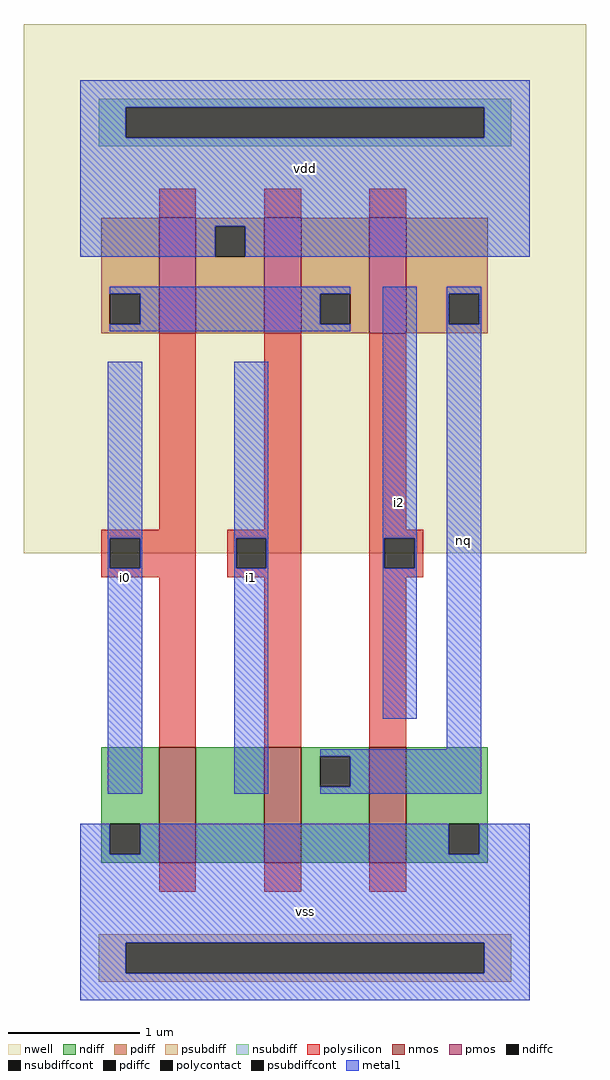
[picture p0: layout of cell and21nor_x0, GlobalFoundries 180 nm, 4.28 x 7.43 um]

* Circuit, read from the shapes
.subckt and21nor_x0 vss vdd i0 nq i1 i2
XM1 n1 i0 vss vss nfet_03v3 w=0.88u l=0.28u
XM2 nq i1 n1 vss nfet_03v3 w=0.88u l=0.28u
XM3 vss i2 nq vss nfet_03v3 w=0.88u l=0.28u
XM4 vdd i0 n2 vdd pfet_03v3 w=0.88u l=0.28u
XM5 n2 i1 vdd vdd pfet_03v3 w=0.88u l=0.28u
XM6 nq i2 n2 vdd pfet_03v3 w=0.88u l=0.28u
.ends

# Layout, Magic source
magic
tech gf180mcuD
magscale 1 10
<< nwell >>
rect -86 680 770 1486
<< nmos >>
rect 120 209 176 385
rect 280 209 336 385
rect 440 209 496 385
<< pmos >>
rect 120 1015 176 1191
rect 280 1015 336 1191
rect 440 1015 496 1191
<< ndiff >>
rect 32 268 120 385
rect 32 222 45 268
rect 91 222 120 268
rect 32 209 120 222
rect 176 209 280 385
rect 336 371 440 385
rect 336 325 365 371
rect 411 325 440 371
rect 336 209 440 325
rect 496 268 620 385
rect 496 222 561 268
rect 607 222 620 268
rect 496 209 620 222
<< pdiff >>
rect 32 1075 120 1191
rect 32 1029 45 1075
rect 91 1029 120 1075
rect 32 1015 120 1029
rect 176 1178 280 1191
rect 176 1132 205 1178
rect 251 1132 280 1178
rect 176 1015 280 1132
rect 336 1075 440 1191
rect 336 1029 365 1075
rect 411 1029 440 1075
rect 336 1015 440 1029
rect 496 1075 620 1191
rect 496 1029 561 1075
rect 607 1029 620 1075
rect 496 1015 620 1029
<< ndiffc >>
rect 45 222 91 268
rect 365 325 411 371
rect 561 222 607 268
<< pdiffc >>
rect 45 1029 91 1075
rect 205 1132 251 1178
rect 365 1029 411 1075
rect 561 1029 607 1075
<< psubdiff >>
rect 28 87 656 100
rect 28 41 69 87
rect 615 41 656 87
rect 28 28 656 41
<< nsubdiff >>
rect 28 1359 656 1372
rect 28 1313 69 1359
rect 615 1313 656 1359
rect 28 1300 656 1313
<< psubdiffcont >>
rect 69 41 615 87
<< nsubdiffcont >>
rect 69 1313 615 1359
<< polysilicon >>
rect 120 1191 176 1235
rect 280 1191 336 1235
rect 440 1191 496 1235
rect 120 716 176 1015
rect 280 716 336 1015
rect 32 703 176 716
rect 32 657 45 703
rect 91 657 176 703
rect 32 644 176 657
rect 224 703 336 716
rect 224 657 237 703
rect 283 657 336 703
rect 224 644 336 657
rect 120 385 176 644
rect 280 385 336 644
rect 440 716 496 1015
rect 440 703 522 716
rect 440 657 463 703
rect 509 657 522 703
rect 440 644 522 657
rect 440 385 496 644
rect 120 165 176 209
rect 280 165 336 209
rect 440 165 496 209
<< polycontact >>
rect 45 657 91 703
rect 237 657 283 703
rect 463 657 509 703
<< metal1 >>
rect 0 1359 684 1400
rect 0 1313 69 1359
rect 615 1313 684 1359
rect 0 1178 684 1313
rect 0 1132 205 1178
rect 251 1132 684 1178
rect 45 1075 411 1086
rect 91 1029 365 1075
rect 45 1018 411 1029
rect 42 703 94 972
rect 42 657 45 703
rect 91 657 94 703
rect 42 314 94 657
rect 234 703 286 972
rect 234 657 237 703
rect 283 657 286 703
rect 234 314 286 657
rect 460 703 512 1086
rect 460 657 463 703
rect 509 657 512 703
rect 460 428 512 657
rect 558 1075 610 1086
rect 558 1029 561 1075
rect 607 1029 610 1075
rect 558 382 610 1029
rect 365 371 610 382
rect 411 325 610 371
rect 365 314 610 325
rect 0 222 45 268
rect 91 222 561 268
rect 607 222 684 268
rect 0 87 684 222
rect 0 41 69 87
rect 615 41 684 87
rect 0 0 684 41
<< labels >>
rlabel metal1 s 0 0 684 268 4 vss
port 3 nsew
rlabel metal1 s 0 1132 684 1400 4 vdd
port 5 nsew
rlabel metal1 s 42 314 94 972 4 i0
port 7 nsew
rlabel metal1 s 558 314 610 1086 4 nq
port 9 nsew
rlabel metal1 s 234 314 286 972 4 i1
port 11 nsew
rlabel metal1 s 460 428 512 1086 4 i2
port 13 nsew
<< end >>
